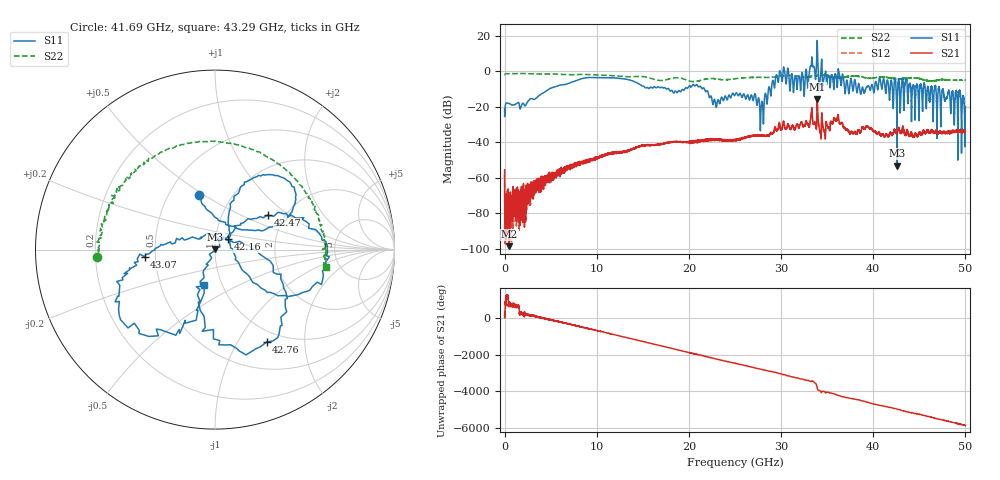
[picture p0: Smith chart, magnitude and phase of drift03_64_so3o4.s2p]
!Created with skrf (http://scikit-rf.org).
# Hz S RI R 50.0
!freq ReS11 ImS11 ReS21 ImS21 ReS12 ImS12 ReS22 ImS22
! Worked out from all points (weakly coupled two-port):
!   10001 points, 300 kHz to 50 GHz, reference 50 ohm
!   highest |S21| = -15.75 dB at 33.92 GHz (marker M1); lowest = -98.5 dB at 510.3 MHz (marker M2)
!   lowest |S11| = -53.1 dB at 42.57 GHz (marker M3), VSWR 1.00, Z = 50.2 + j0.118 ohm
!   |S11| at or under -10 dB: start of sweep to 4.849 GHz; 21.69 GHz to 28.62 GHz (6.931 GHz wide, 27.6 % of centre); 47.19 GHz to end of sweep (the widest 3 of 43)
!   |S22| runs from -5.9 to -1.3 dB; largest |S21 - S12| = 0.018
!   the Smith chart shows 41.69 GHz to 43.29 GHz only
!   S11 on the Smith chart (normalised r, x): 41.69 GHz: 0.70, +0.47; 42.16 GHz: 1.15, +0.13; 42.47 GHz: 1.64, +0.73; 42.76 GHz: 0.85, -1.33; 43.07 GHz: 0.44, -0.04; 43.29 GHz: 0.82, -0.34
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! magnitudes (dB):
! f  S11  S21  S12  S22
! 300 kHz  -21.2  -55.5  -58.0  -2.1
! 510.3 MHz  -18.3  -98.5  -74.9  -1.5
! 8.335 GHz  -4.3  -50.8  -51.7  -1.9
! 16.67 GHz  -8.8  -41.4  -41.4  -5.2
! 21.01 GHz  -8.7  -38.8  -38.9  -5.5
! 22.81 GHz  -16.1  -38.3  -38.6  -4.3
! 25 GHz  -13.4  -38.7  -38.6  -4.3
! 27.91 GHz  -17.2  -35.9  -36.1  -3.5
! 29.69 GHz  -6.4  -32.1  -31.6  -3.1
! 32.32 GHz  -1.5  -30.4  -30.6  -3.2
! 33.34 GHz  7.9  -20.5  -20.9  -2.9
! 33.92 GHz  17.3  -15.7  -16.0  -2.5
! 38.82 GHz  -9.2  -31.3  -31.7  -3.4
! 41.67 GHz  -9.0  -36.7  -36.8  -3.7
! 41.69 GHz  -10.0  -36.7  -36.7  -3.6
! 42.16 GHz  -20.5  -35.3  -35.1  -4.1
! 42.47 GHz  -9.0  -34.6  -34.7  -4.4
! 42.57 GHz  -53.1  -34.8  -34.7  -4.5
! 42.76 GHz  -4.6  -31.9  -31.8  -4.5
! 43.07 GHz  -8.1  -34.3  -34.7  -4.4
! 43.29 GHz  -13.7  -32.8  -33.1  -4.0
! 50 GHz  -20.0  -33.9  -34.0  -5.0
